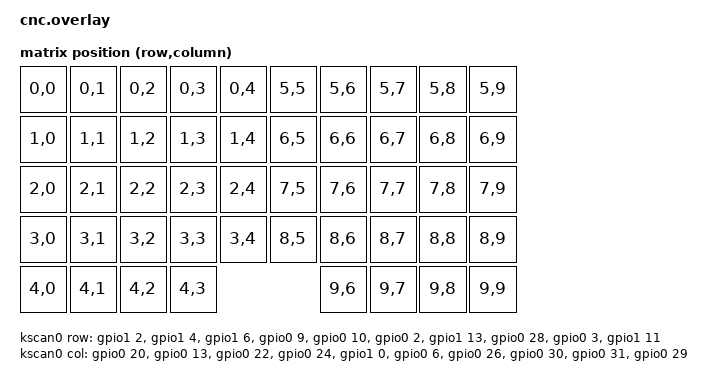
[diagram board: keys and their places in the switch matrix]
/*
 * Copyright (c) 2020 The ZMK Contributors
 *
 * SPDX-License-Identifier: MIT
 */

#include <dt-bindings/zmk/matrix_transform.h>

/ {
    chosen {
        zmk,kscan = &kscan0;
        zmk,matrix-transform = &default_transform;
    };

    kscan0: kscan {
        compatible = "zmk,kscan-gpio-matrix";
        label = "KSCAN";

        diode-direction = "col2row";
        row-gpios
            = <&gpio1 2 (GPIO_ACTIVE_HIGH | GPIO_PULL_DOWN)>
            , <&gpio1 4 (GPIO_ACTIVE_HIGH | GPIO_PULL_DOWN)>
            , <&gpio1 6 (GPIO_ACTIVE_HIGH | GPIO_PULL_DOWN)>
            , <&gpio0 9 (GPIO_ACTIVE_HIGH | GPIO_PULL_DOWN)>
            , <&gpio0 10 (GPIO_ACTIVE_HIGH | GPIO_PULL_DOWN)>
	    , <&gpio0 2 (GPIO_ACTIVE_HIGH | GPIO_PULL_DOWN)>
            , <&gpio1 13 (GPIO_ACTIVE_HIGH | GPIO_PULL_DOWN)>
            , <&gpio0 28 (GPIO_ACTIVE_HIGH | GPIO_PULL_DOWN)>
            , <&gpio0 3 (GPIO_ACTIVE_HIGH | GPIO_PULL_DOWN)>
	    , <&gpio1 11 (GPIO_ACTIVE_HIGH | GPIO_PULL_DOWN)>
            ;
        col-gpios
            = <&gpio0 20 GPIO_ACTIVE_HIGH>
            , <&gpio0 13 GPIO_ACTIVE_HIGH>
            , <&gpio0 22 GPIO_ACTIVE_HIGH>
            , <&gpio0 24 GPIO_ACTIVE_HIGH>
            , <&gpio1 0 GPIO_ACTIVE_HIGH>
            , <&gpio0 6 GPIO_ACTIVE_HIGH>
            , <&gpio0 26 GPIO_ACTIVE_HIGH>
            , <&gpio0 30 GPIO_ACTIVE_HIGH>
            , <&gpio0 31 GPIO_ACTIVE_HIGH>
            , <&gpio0 29 GPIO_ACTIVE_HIGH>
            ;
    };
    default_transform: keymap_transform_0 {
		compatible = "zmk,matrix-transform";
		columns = <10>;
		rows = <10>;
        map = <
        RC(0,0)  RC(0,1) RC(0,2) RC(0,3) RC(0,4) RC(5,5)  RC(5,6) RC(5,7) RC(5,8) RC(5,9) 
        RC(1,0)  RC(1,1) RC(1,2) RC(1,3) RC(1,4) RC(6,5)  RC(6,6) RC(6,7) RC(6,8) RC(6,9)
        RC(2,0)  RC(2,1) RC(2,2) RC(2,3) RC(2,4) RC(7,5)  RC(7,6) RC(7,7) RC(7,8) RC(7,9)
        RC(3,0)  RC(3,1) RC(3,2) RC(3,3) RC(3,4) RC(8,5)  RC(8,6) RC(8,7) RC(8,8) RC(8,9)
        RC(4,0)  RC(4,1) RC(4,2) RC(4,3)                  RC(9,6) RC(9,7) RC(9,8) RC(9,9)
		>;
	};
};
